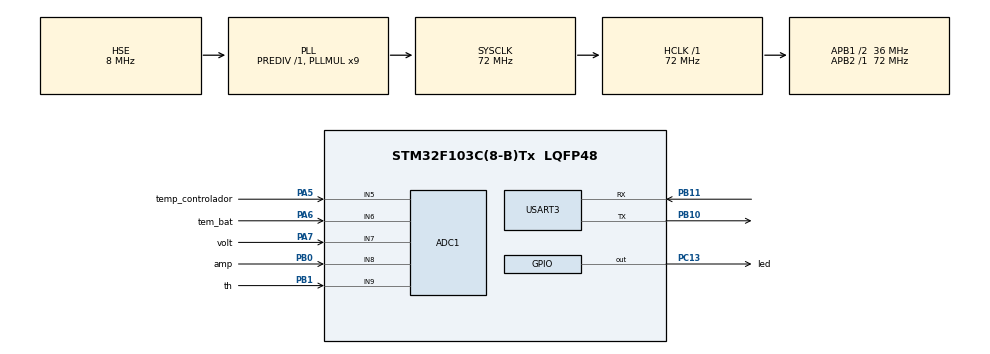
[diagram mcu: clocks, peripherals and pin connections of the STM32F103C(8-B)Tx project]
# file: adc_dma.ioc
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ADC1.Channel-0\#ChannelRegularConversion=ADC_CHANNEL_5
ADC1.Channel-1\#ChannelRegularConversion=ADC_CHANNEL_6
ADC1.Channel-2\#ChannelRegularConversion=ADC_CHANNEL_7
ADC1.Channel-3\#ChannelRegularConversion=ADC_CHANNEL_8
ADC1.Channel-4\#ChannelRegularConversion=ADC_CHANNEL_9
ADC1.ContinuousConvMode=ENABLE
ADC1.NbrOfConversion=5
ADC1.NbrOfConversionFlag=1
ADC1.Rank-0\#ChannelRegularConversion=1
ADC1.Rank-1\#ChannelRegularConversion=2
ADC1.Rank-2\#ChannelRegularConversion=3
ADC1.Rank-3\#ChannelRegularConversion=4
ADC1.Rank-4\#ChannelRegularConversion=5
ADC1.SamplingTime-0\#ChannelRegularConversion=ADC_SAMPLETIME_71CYCLES_5
ADC1.SamplingTime-1\#ChannelRegularConversion=ADC_SAMPLETIME_71CYCLES_5
ADC1.SamplingTime-2\#ChannelRegularConversion=ADC_SAMPLETIME_71CYCLES_5
ADC1.SamplingTime-3\#ChannelRegularConversion=ADC_SAMPLETIME_71CYCLES_5
ADC1.SamplingTime-4\#ChannelRegularConversion=ADC_SAMPLETIME_71CYCLES_5
ADC1.master=1
Dma.ADC1.0.Direction=DMA_PERIPH_TO_MEMORY
Dma.ADC1.0.Instance=DMA1_Channel1
Dma.ADC1.0.MemDataAlignment=DMA_MDATAALIGN_HALFWORD
Dma.ADC1.0.MemInc=DMA_MINC_ENABLE
Dma.ADC1.0.Mode=DMA_CIRCULAR
Dma.ADC1.0.PeriphDataAlignment=DMA_PDATAALIGN_HALFWORD
Dma.ADC1.0.PeriphInc=DMA_PINC_DISABLE
Dma.ADC1.0.Priority=DMA_PRIORITY_LOW
Dma.Request0=ADC1
Mcu.Family=STM32F1
Mcu.Name=STM32F103C(8-B)Tx
Mcu.Package=LQFP48
NVIC.DMA1_Channel1_IRQn=true\:0\:0\:false\:false\:true\:false\:true\:true
NVIC.PriorityGroup=NVIC_PRIORITYGROUP_4
PA5.GPIO_Label=temp_controlador
PA5.Signal=ADCx_IN5
PA6.GPIO_Label=tem_bat
PA6.Signal=ADCx_IN6
PA7.GPIO_Label=volt
PA7.Signal=ADCx_IN7
PB0.GPIO_Label=amp
PB0.Signal=ADCx_IN8
PB1.GPIO_Label=th
PB1.Signal=ADCx_IN9
PB10.Mode=Asynchronous
PB10.Signal=USART3_TX
PB11.Mode=Asynchronous
PB11.Signal=USART3_RX
PC13-TAMPER-RTC.GPIO_Label=led
PC13-TAMPER-RTC.Signal=GPIO_Output
PD0-OSC_IN.Mode=HSE-External-Oscillator
PD0-OSC_IN.Signal=RCC_OSC_IN
PD1-OSC_OUT.Mode=HSE-External-Oscillator
PD1-OSC_OUT.Signal=RCC_OSC_OUT
ProjectManager.HeapSize=0x200
ProjectManager.StackSize=0x400
ProjectManager.TargetToolchain=STM32CubeIDE
RCC.ADCPresc=RCC_ADCPCLK2_DIV6
RCC.AHBFreq_Value=72000000
RCC.APB1CLKDivider=RCC_HCLK_DIV2
RCC.APB1Freq_Value=36000000
RCC.APB1TimFreq_Value=72000000
RCC.APB2Freq_Value=72000000
RCC.APB2TimFreq_Value=72000000
RCC.HCLKFreq_Value=72000000
RCC.PLLMUL=RCC_PLL_MUL9
RCC.PLLSourceVirtual=RCC_PLLSOURCE_HSE
RCC.SYSCLKFreq_VALUE=72000000
RCC.SYSCLKSource=RCC_SYSCLKSOURCE_PLLCLK
RCC.USBFreq_Value=72000000
SH.ADCx_IN5.0=ADC1_IN5,IN5
SH.ADCx_IN6.0=ADC1_IN6,IN6
SH.ADCx_IN7.0=ADC1_IN7,IN7
SH.ADCx_IN8.0=ADC1_IN8,IN8
SH.ADCx_IN9.0=ADC1_IN9,IN9
USART3.VirtualMode=VM_ASYNC
board=custom

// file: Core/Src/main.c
/* USER CODE BEGIN Header */
/**
  ******************************************************************************
  * @file           : main.c
  * @brief          : Main program body
  ******************************************************************************
  * @attention
  *
  * Copyright (c) 2023 STMicroelectronics.
  * All rights reserved.
  *
  * This software is licensed under terms that can be found in the LICENSE file
  * in the root directory of this software component.
  * If no LICENSE file comes with this software, it is provided AS-IS.
  *
  ******************************************************************************
  */
/* USER CODE END Header */
#include "main.h"

/* USER CODE BEGIN Includes */
#include <stdio.h>
/* USER CODE END Includes */

/* USER CODE BEGIN PTD */
#define PUTCHAR_PROTOTYPE int __io_putchar(int ch)
/* USER CODE END PTD */

ADC_HandleTypeDef hadc1;
DMA_HandleTypeDef hdma_adc1;

UART_HandleTypeDef huart3;

/* USER CODE BEGIN PV */
uint16_t adc[5];
/* USER CODE END PV */

void SystemClock_Config(void);
static void MX_GPIO_Init(void);
static void MX_DMA_Init(void);
static void MX_ADC1_Init(void);
static void MX_USART3_UART_Init(void);

int main(void)
{

  /* MCU Configuration--------------------------------------------------------*/

  /* Reset of all peripherals, Initializes the Flash interface and the Systick. */
  HAL_Init();

  /* Configure the system clock */
  SystemClock_Config();

  /* Initialize all configured peripherals */
  MX_GPIO_Init();
  MX_DMA_Init();
  MX_ADC1_Init();
  MX_USART3_UART_Init();
  /* USER CODE BEGIN 2 */
  HAL_ADC_Start_DMA(&hadc1, (uint16_t*)adc, 5);
  /* USER CODE END 2 */

  /* Infinite loop */
  while (1)
  {

    /* USER CODE BEGIN 3 */
	  HAL_GPIO_TogglePin(led_GPIO_Port, led_Pin);
	  HAL_Delay(100);
	  printf("%u ", adc[0]);
	  printf("%u ", adc[1]);
	  printf("%u ", adc[2]);
	  printf("%u ", adc[3]);
	  printf("%u ", adc[4]);
	  printf("\n");
  }
  /* USER CODE END 3 */
}

void SystemClock_Config(void)
{
  RCC_OscInitTypeDef RCC_OscInitStruct = {0};
  RCC_ClkInitTypeDef RCC_ClkInitStruct = {0};
  RCC_PeriphCLKInitTypeDef PeriphClkInit = {0};

  /** Initializes the RCC Oscillators according to the specified parameters
  * in the RCC_OscInitTypeDef structure.
  */
  RCC_OscInitStruct.OscillatorType = RCC_OSCILLATORTYPE_HSE;
  RCC_OscInitStruct.HSEState = RCC_HSE_ON;
  RCC_OscInitStruct.HSEPredivValue = RCC_HSE_PREDIV_DIV1;
  RCC_OscInitStruct.HSIState = RCC_HSI_ON;
  RCC_OscInitStruct.PLL.PLLState = RCC_PLL_ON;
  RCC_OscInitStruct.PLL.PLLSource = RCC_PLLSOURCE_HSE;
  RCC_OscInitStruct.PLL.PLLMUL = RCC_PLL_MUL9;
  if (HAL_RCC_OscConfig(&RCC_OscInitStruct) != HAL_OK)
  {
    Error_Handler();
  }

  /** Initializes the CPU, AHB and APB buses clocks
  */
  RCC_ClkInitStruct.ClockType = RCC_CLOCKTYPE_HCLK|RCC_CLOCKTYPE_SYSCLK
                              |RCC_CLOCKTYPE_PCLK1|RCC_CLOCKTYPE_PCLK2;
  RCC_ClkInitStruct.SYSCLKSource = RCC_SYSCLKSOURCE_PLLCLK;
  RCC_ClkInitStruct.AHBCLKDivider = RCC_SYSCLK_DIV1;
  RCC_ClkInitStruct.APB1CLKDivider = RCC_HCLK_DIV2;
  RCC_ClkInitStruct.APB2CLKDivider = RCC_HCLK_DIV1;

  if (HAL_RCC_ClockConfig(&RCC_ClkInitStruct, FLASH_LATENCY_2) != HAL_OK)
  {
    Error_Handler();
  }
  PeriphClkInit.PeriphClockSelection = RCC_PERIPHCLK_ADC;
  PeriphClkInit.AdcClockSelection = RCC_ADCPCLK2_DIV6;
  if (HAL_RCCEx_PeriphCLKConfig(&PeriphClkInit) != HAL_OK)
  {
    Error_Handler();
  }
}

static void MX_ADC1_Init(void)
{

  ADC_ChannelConfTypeDef sConfig = {0};

  /** Common config
  */
  hadc1.Instance = ADC1;
  hadc1.Init.ScanConvMode = ADC_SCAN_ENABLE;
  hadc1.Init.ContinuousConvMode = ENABLE;
  hadc1.Init.DiscontinuousConvMode = DISABLE;
  hadc1.Init.ExternalTrigConv = ADC_SOFTWARE_START;
  hadc1.Init.DataAlign = ADC_DATAALIGN_RIGHT;
  hadc1.Init.NbrOfConversion = 5;
  if (HAL_ADC_Init(&hadc1) != HAL_OK)
  {
    Error_Handler();
  }

  /** Configure Regular Channel
  */
  sConfig.Channel = ADC_CHANNEL_5;
  sConfig.Rank = ADC_REGULAR_RANK_1;
  sConfig.SamplingTime = ADC_SAMPLETIME_71CYCLES_5;
  if (HAL_ADC_ConfigChannel(&hadc1, &sConfig) != HAL_OK)
  {
    Error_Handler();
  }

  /** Configure Regular Channel
  */
  sConfig.Channel = ADC_CHANNEL_6;
  sConfig.Rank = ADC_REGULAR_RANK_2;
  if (HAL_ADC_ConfigChannel(&hadc1, &sConfig) != HAL_OK)
  {
    Error_Handler();
  }

  /** Configure Regular Channel
  */
  sConfig.Channel = ADC_CHANNEL_7;
  sConfig.Rank = ADC_REGULAR_RANK_3;
  if (HAL_ADC_ConfigChannel(&hadc1, &sConfig) != HAL_OK)
  {
    Error_Handler();
  }

  /** Configure Regular Channel
  */
  sConfig.Channel = ADC_CHANNEL_8;
  sConfig.Rank = ADC_REGULAR_RANK_4;
  if (HAL_ADC_ConfigChannel(&hadc1, &sConfig) != HAL_OK)
  {
    Error_Handler();
  }

  /** Configure Regular Channel
  */
  sConfig.Channel = ADC_CHANNEL_9;
  sConfig.Rank = ADC_REGULAR_RANK_5;
  if (HAL_ADC_ConfigChannel(&hadc1, &sConfig) != HAL_OK)
  {
    Error_Handler();
  }

}

static void MX_USART3_UART_Init(void)
{

  huart3.Instance = USART3;
  huart3.Init.BaudRate = 115200;
  huart3.Init.WordLength = UART_WORDLENGTH_8B;
  huart3.Init.StopBits = UART_STOPBITS_1;
  huart3.Init.Parity = UART_PARITY_NONE;
  huart3.Init.Mode = UART_MODE_TX_RX;
  huart3.Init.HwFlowCtl = UART_HWCONTROL_NONE;
  huart3.Init.OverSampling = UART_OVERSAMPLING_16;
  if (HAL_UART_Init(&huart3) != HAL_OK)
  {
    Error_Handler();
  }

}

static void MX_DMA_Init(void)
{

  /* DMA controller clock enable */
  __HAL_RCC_DMA1_CLK_ENABLE();

  /* DMA interrupt init */
  /* DMA1_Channel1_IRQn interrupt configuration */
  HAL_NVIC_SetPriority(DMA1_Channel1_IRQn, 0, 0);
  HAL_NVIC_EnableIRQ(DMA1_Channel1_IRQn);

}

static void MX_GPIO_Init(void)
{
  GPIO_InitTypeDef GPIO_InitStruct = {0};

  /* GPIO Ports Clock Enable */
  __HAL_RCC_GPIOC_CLK_ENABLE();
  __HAL_RCC_GPIOD_CLK_ENABLE();
  __HAL_RCC_GPIOA_CLK_ENABLE();
  __HAL_RCC_GPIOB_CLK_ENABLE();

  /*Configure GPIO pin Output Level */
  HAL_GPIO_WritePin(led_GPIO_Port, led_Pin, GPIO_PIN_RESET);

  /*Configure GPIO pin : led_Pin */
  GPIO_InitStruct.Pin = led_Pin;
  GPIO_InitStruct.Mode = GPIO_MODE_OUTPUT_PP;
  GPIO_InitStruct.Pull = GPIO_NOPULL;
  GPIO_InitStruct.Speed = GPIO_SPEED_FREQ_LOW;
  HAL_GPIO_Init(led_GPIO_Port, &GPIO_InitStruct);

}

/* USER CODE BEGIN 4 */
PUTCHAR_PROTOTYPE
{
  /* Place your implementation of fputc here */
  /* e.g. write a character to the USART1 and Loop until the end of transmission */
  HAL_UART_Transmit(&huart3, (uint8_t *)&ch, 1, 0xFFFF);

  return ch;
}
/* USER CODE END 4 */

void Error_Handler(void)
{
  __disable_irq();
  while (1)
  {
  }
}
